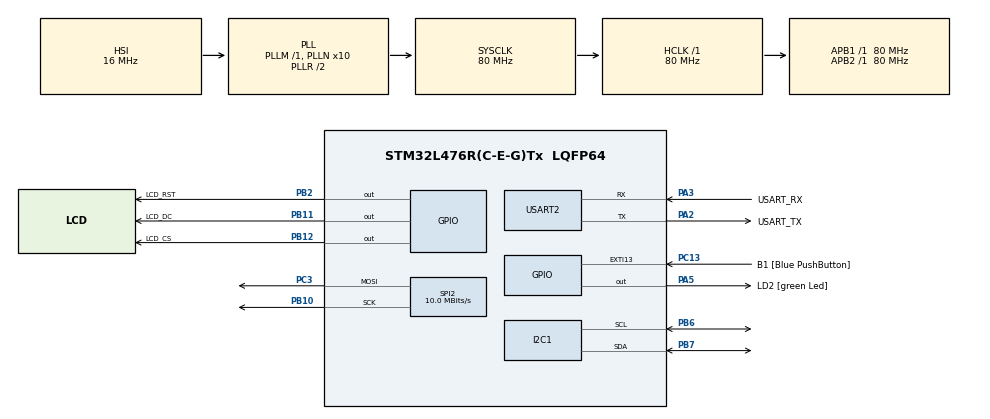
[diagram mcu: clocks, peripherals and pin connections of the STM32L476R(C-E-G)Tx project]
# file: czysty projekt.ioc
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Dma.Request0=SPI2_TX
Dma.SPI2_TX.0.Direction=DMA_MEMORY_TO_PERIPH
Dma.SPI2_TX.0.Instance=DMA1_Channel5
Dma.SPI2_TX.0.MemDataAlignment=DMA_MDATAALIGN_BYTE
Dma.SPI2_TX.0.MemInc=DMA_MINC_ENABLE
Dma.SPI2_TX.0.Mode=DMA_NORMAL
Dma.SPI2_TX.0.PeriphDataAlignment=DMA_PDATAALIGN_BYTE
Dma.SPI2_TX.0.PeriphInc=DMA_PINC_DISABLE
Dma.SPI2_TX.0.Priority=DMA_PRIORITY_LOW
I2C1.Timing=0x10909CEC
Mcu.Family=STM32L4
Mcu.Name=STM32L476R(C-E-G)Tx
Mcu.Package=LQFP64
NVIC.DMA1_Channel5_IRQn=true\:0\:0\:false\:false\:true\:false\:true\:true
NVIC.PriorityGroup=NVIC_PRIORITYGROUP_4
NVIC.USART2_IRQn=true\:0\:0\:false\:false\:true\:true\:true\:true
PA13\ (JTMS-SWDIO).GPIO_Label=TMS
PA13\ (JTMS-SWDIO).Mode=Serial_Wire
PA13\ (JTMS-SWDIO).Signal=SYS_JTMS-SWDIO
PA14\ (JTCK-SWCLK).GPIO_Label=TCK
PA14\ (JTCK-SWCLK).Mode=Serial_Wire
PA14\ (JTCK-SWCLK).Signal=SYS_JTCK-SWCLK
PA2.GPIO_Label=USART_TX
PA2.GPIO_Mode=GPIO_MODE_AF_PP
PA2.GPIO_PuPd=GPIO_NOPULL
PA2.GPIO_Speed=GPIO_SPEED_FREQ_VERY_HIGH
PA2.Mode=Asynchronous
PA2.Signal=USART2_TX
PA3.GPIO_Label=USART_RX
PA3.GPIO_Mode=GPIO_MODE_AF_PP
PA3.GPIO_PuPd=GPIO_NOPULL
PA3.GPIO_Speed=GPIO_SPEED_FREQ_VERY_HIGH
PA3.Mode=Asynchronous
PA3.Signal=USART2_RX
PA5.GPIO_Label=LD2 [green Led]
PA5.GPIO_ModeDefaultOutputPP=GPIO_MODE_OUTPUT_PP
PA5.GPIO_PuPd=GPIO_NOPULL
PA5.GPIO_Speed=GPIO_SPEED_FREQ_LOW
PA5.Signal=GPIO_Output
PB10.Mode=TX_Only_Simplex_Unidirect_Master
PB10.Signal=SPI2_SCK
PB11.GPIO_Label=LCD_DC
PB11.Signal=GPIO_Output
PB12.GPIO_Label=LCD_CS
PB12.PinState=GPIO_PIN_SET
PB12.Signal=GPIO_Output
PB2.GPIO_Label=LCD_RST
PB2.Signal=GPIO_Output
PB3\ (JTDO-TRACESWO).GPIO_Label=SWO
PB3\ (JTDO-TRACESWO).Signal=SYS_JTDO-SWO
PB6.Mode=I2C
PB6.Signal=I2C1_SCL
PB7.Mode=I2C
PB7.Signal=I2C1_SDA
PC13.GPIO_Label=B1 [Blue PushButton]
PC13.GPIO_ModeDefaultEXTI=GPIO_MODE_IT_FALLING
PC13.GPIO_PuPd=GPIO_NOPULL
PC13.Signal=GPXTI13
PC14-OSC32_IN\ (PC14).Mode=LSE-External-Oscillator
PC14-OSC32_IN\ (PC14).Signal=RCC_OSC32_IN
PC15-OSC32_OUT\ (PC15).Mode=LSE-External-Oscillator
PC15-OSC32_OUT\ (PC15).Signal=RCC_OSC32_OUT
PC3.Mode=TX_Only_Simplex_Unidirect_Master
PC3.Signal=SPI2_MOSI
PH0-OSC_IN\ (PH0).Signal=RCC_OSC_IN
PH1-OSC_OUT\ (PH1).Signal=RCC_OSC_OUT
ProjectManager.HeapSize=0x200
ProjectManager.StackSize=0x400
ProjectManager.TargetToolchain=STM32CubeIDE
RCC.ADCFreq_Value=64000000
RCC.AHBFreq_Value=80000000
RCC.APB1Freq_Value=80000000
RCC.APB1TimFreq_Value=80000000
RCC.APB2Freq_Value=80000000
RCC.APB2TimFreq_Value=80000000
RCC.CortexFreq_Value=80000000
RCC.HCLKFreq_Value=80000000
RCC.HSE_VALUE=8000000
RCC.HSI_VALUE=16000000
RCC.MSI_VALUE=4000000
RCC.PLLN=10
RCC.PLLSourceVirtual=RCC_PLLSOURCE_HSI
RCC.PREFETCH_ENABLE=1
RCC.SYSCLKFreq_VALUE=80000000
RCC.SYSCLKSource=RCC_SYSCLKSOURCE_PLLCLK
RCC.USBFreq_Value=64000000
RCC.VCOOutputFreq_Value=160000000
SPI2.BaudRatePrescaler=SPI_BAUDRATEPRESCALER_8
SPI2.CalculateBaudRate=10.0 MBits/s
SPI2.DataSize=SPI_DATASIZE_8BIT
SPI2.Direction=SPI_DIRECTION_2LINES
SPI2.Mode=SPI_MODE_MASTER
SPI2.NSSPMode=SPI_NSS_PULSE_DISABLE
SPI2.VirtualType=VM_MASTER
USART2.VirtualMode-Asynchronous=VM_ASYNC
board=NUCLEO-L476RG

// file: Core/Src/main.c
/* USER CODE BEGIN Header */
/**
  ******************************************************************************
  * @file           : main.c
  * @brief          : Main program body
  ******************************************************************************
  * @attention
  *
  * Copyright (c) 2022 STMicroelectronics.
  * All rights reserved.
  *
  * This software is licensed under terms that can be found in the LICENSE file
  * in the root directory of this software component.
  * If no LICENSE file comes with this software, it is provided AS-IS.
  *
  ******************************************************************************
  */
/* USER CODE END Header */
#include "main.h"
#include "dma.h"
#include "i2c.h"
#include "spi.h"
#include "usart.h"
#include "gpio.h"

/* USER CODE BEGIN Includes */
#include "hagl.h"
#include "font6x9.h"
#include "rgb565.h"
#include "lps25hb.h"
#include <locale.h>

/* USER CODE END Includes */

void SystemClock_Config(void);

/* USER CODE BEGIN 0 */
uint16_t test_image[64*64];
int __io_putchar(int ch)
{
  if (ch == '\n') {
    __io_putchar('\r');
  }

  HAL_UART_Transmit(&huart2, (uint8_t*)&ch, 1, HAL_MAX_DELAY);

  return 1;
}
/* USER CODE END 0 */

int main(void)
{

  /* MCU Configuration--------------------------------------------------------*/

  /* Reset of all peripherals, Initializes the Flash interface and the Systick. */
  HAL_Init();

  /* Configure the system clock */
  SystemClock_Config();

  /* Initialize all configured peripherals */
  MX_GPIO_Init();
  MX_DMA_Init();
  MX_USART2_UART_Init();
  MX_SPI2_Init();
  MX_I2C1_Init();

  /* Infinite loop */
  /* USER CODE BEGIN WHILE */
  lcd_init();
  wchar_t tekst[MAX];
  char temperaturastr[MAX];
  setlocale(LC_ALL, "C.UTF-8");
  //hagl_put_text(L"policja", 40, 55, YELLOW, font6x9);

  void HAL_SPI_TxCpltCallback(SPI_HandleTypeDef *hspi)
  {
  	if (hspi == &hspi2)
  	{
  		HAL_GPIO_WritePin(LCD_CS_GPIO_Port, LCD_CS_Pin, GPIO_PIN_SET);
  	}
  }

  //hagl_put_num(lps25hb_read_temp(), 40, 55, GREEN, font6x9);

  HAL_Delay(1000);

  printf("Searching...\n");
  if (lps25hb_init() == HAL_OK) {
    printf("OK: LPS25HB\n");
  } else {
    printf("Error: LPS25HB not found\n");
    Error_Handler();
  }
  HAL_Delay(100);

  while (1)
  {

	  gcvt(lps25hb_read_temp(), 4, temperaturastr);

	  mbstowcs(tekst,temperaturastr,strlen(temperaturastr)+2);
	  printf("T = %ls *C\n", tekst);
	  //printf("T = %.1f*C\n", lps25hb_read_temp());
	 // printf("p = %.1f hPa\n", lps25hb_read_pressure());

	  hagl_put_text(tekst, 40, 50, GREEN, font6x9);

	  lcd_copy();
	  //for (int i = 0; i < 8; i++) {
	  //hagl_draw_rounded_rectangle(2+i, 2+i, 158-i, 126-i, 8-i, rgb565(0, 0, i*16)); //konfiguracja biblioteki HAGL do rysowania
	  //}

	  //hagl_put_text(temperaturastr, 40, 55, YELLOW, font6x9);
	  //lcd_copy();

	  HAL_Delay(1000);

    /* USER CODE END WHILE */

  }
}

void SystemClock_Config(void)
{
  RCC_OscInitTypeDef RCC_OscInitStruct = {0};
  RCC_ClkInitTypeDef RCC_ClkInitStruct = {0};

  /** Configure the main internal regulator output voltage
  */
  if (HAL_PWREx_ControlVoltageScaling(PWR_REGULATOR_VOLTAGE_SCALE1) != HAL_OK)
  {
    Error_Handler();
  }

  /** Initializes the RCC Oscillators according to the specified parameters
  * in the RCC_OscInitTypeDef structure.
  */
  RCC_OscInitStruct.OscillatorType = RCC_OSCILLATORTYPE_HSI;
  RCC_OscInitStruct.HSIState = RCC_HSI_ON;
  RCC_OscInitStruct.HSICalibrationValue = RCC_HSICALIBRATION_DEFAULT;
  RCC_OscInitStruct.PLL.PLLState = RCC_PLL_ON;
  RCC_OscInitStruct.PLL.PLLSource = RCC_PLLSOURCE_HSI;
  RCC_OscInitStruct.PLL.PLLM = 1;
  RCC_OscInitStruct.PLL.PLLN = 10;
  RCC_OscInitStruct.PLL.PLLP = RCC_PLLP_DIV7;
  RCC_OscInitStruct.PLL.PLLQ = RCC_PLLQ_DIV2;
  RCC_OscInitStruct.PLL.PLLR = RCC_PLLR_DIV2;
  if (HAL_RCC_OscConfig(&RCC_OscInitStruct) != HAL_OK)
  {
    Error_Handler();
  }

  /** Initializes the CPU, AHB and APB buses clocks
  */
  RCC_ClkInitStruct.ClockType = RCC_CLOCKTYPE_HCLK|RCC_CLOCKTYPE_SYSCLK
                              |RCC_CLOCKTYPE_PCLK1|RCC_CLOCKTYPE_PCLK2;
  RCC_ClkInitStruct.SYSCLKSource = RCC_SYSCLKSOURCE_PLLCLK;
  RCC_ClkInitStruct.AHBCLKDivider = RCC_SYSCLK_DIV1;
  RCC_ClkInitStruct.APB1CLKDivider = RCC_HCLK_DIV1;
  RCC_ClkInitStruct.APB2CLKDivider = RCC_HCLK_DIV1;

  if (HAL_RCC_ClockConfig(&RCC_ClkInitStruct, FLASH_LATENCY_4) != HAL_OK)
  {
    Error_Handler();
  }
}

void Error_Handler(void)
{
  __disable_irq();
  while (1)
  {
  }
}
